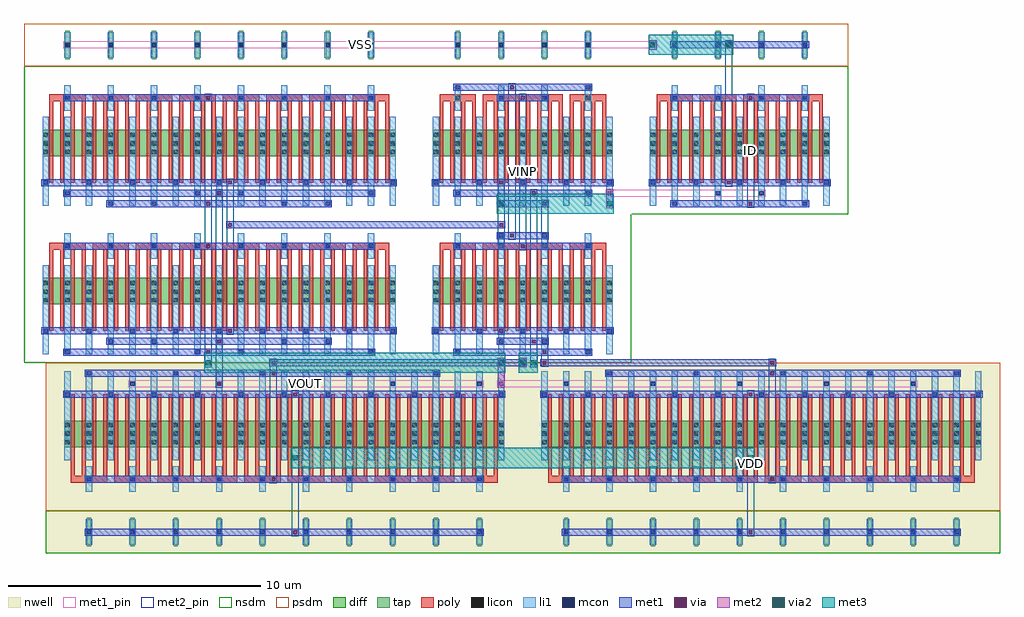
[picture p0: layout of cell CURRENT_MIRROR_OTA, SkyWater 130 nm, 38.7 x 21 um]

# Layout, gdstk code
import gdstk
lib = gdstk.Library(unit=1e-6, precision=1e-09)
def R(c, l, rs):  # rectangles x0, y0, x1, y1
    for r in rs: c.add(gdstk.rectangle(r[:2], r[2:], *l))
def A(c, l, x, y, w, h, nx, ny, dx, dy):  # array of equal rectangles
    R(c, l, [(x+i*dx, y+j*dy, x+i*dx+w, y+j*dy+h) for i in range(nx) for j in range(ny)])
nwell = (64, 20)
diff = (65, 20)
tap = (65, 44)
poly = (66, 20)
licon = (66, 44)
li1 = (67, 20)
mcon = (67, 44)
met1_pin = (68, 16)
met1 = (68, 20)
via = (68, 44)
met2_pin = (69, 16)
met2 = (69, 20)
via2 = (69, 44)
met3 = (70, 20)
nsdm = (93, 44)
psdm = (94, 20)

current_mirror_ota = lib.new_cell('CURRENT_MIRROR_OTA')
R(current_mirror_ota, nwell, [(0.86,0,19.78,7.56), (19.78,0,38.7,7.56)])
R(current_mirror_ota, diff, [(1.595,4.2,19.045,5.25), (20.515,4.2,37.965,5.25), (0.735,9.87,14.745,10.92), (16.215,9.87,23.345,10.92), (0.735,15.75,14.745,16.8), (16.215,15.75,23.345,16.8), (24.815,15.75,31.945,16.8)])
A(current_mirror_ota, tap, 2.495, 0.28, 0.17, 1.12, 10, 1, 1.72, 0)
A(current_mirror_ota, tap, 21.415, 0.28, 0.17, 1.12, 10, 1, 1.72, 0)
A(current_mirror_ota, tap, 1.635, 19.6, 0.17, 1.12, 8, 1, 1.72, 0)
A(current_mirror_ota, tap, 17.115, 19.6, 0.17, 1.12, 4, 1, 1.72, 0)
A(current_mirror_ota, tap, 25.715, 19.6, 0.17, 1.12, 4, 1, 1.72, 0)
A(current_mirror_ota, poly, 1.86, 2.805, 1.44, 0.27, 10, 1, 1.72, 0)
A(current_mirror_ota, poly, 20.78, 2.805, 1.44, 0.27, 10, 1, 1.72, 0)
A(current_mirror_ota, poly, 1.86, 2.94, 0.15, 3.36, 40, 1, 0.43, 0)
A(current_mirror_ota, poly, 20.78, 2.94, 0.15, 3.36, 40, 1, 0.43, 0)
A(current_mirror_ota, poly, 1, 8.82, 0.15, 3.36, 32, 2, 0.43, 5.88)
A(current_mirror_ota, poly, 16.48, 8.82, 0.15, 3.36, 16, 2, 0.43, 5.88)
A(current_mirror_ota, poly, 1, 12.045, 1.44, 0.27, 8, 2, 1.72, 5.88)
A(current_mirror_ota, poly, 16.48, 12.045, 1.44, 0.27, 4, 2, 1.72, 5.88)
A(current_mirror_ota, poly, 25.08, 14.7, 0.15, 3.36, 16, 1, 0.43, 0)
A(current_mirror_ota, poly, 25.08, 17.925, 1.44, 0.27, 4, 1, 1.72, 0)
A(current_mirror_ota, licon, 2.495, 0.755, 0.17, 0.17, 10, 2, 1.72, 2.1)
A(current_mirror_ota, licon, 21.415, 0.755, 0.17, 0.17, 10, 2, 1.72, 2.1)
A(current_mirror_ota, licon, 1.635, 4.32, 0.17, 0.17, 3, 3, 0.86, 0.34)
A(current_mirror_ota, licon, 3.355, 4.32, 0.17, 0.17, 3, 3, 0.86, 0.34)
A(current_mirror_ota, licon, 5.075, 4.32, 0.17, 0.17, 3, 3, 0.86, 0.34)
A(current_mirror_ota, licon, 6.795, 4.32, 0.17, 0.17, 3, 3, 0.86, 0.34)
A(current_mirror_ota, licon, 8.515, 4.32, 0.17, 0.17, 3, 3, 0.86, 0.34)
A(current_mirror_ota, licon, 10.235, 4.32, 0.17, 0.17, 3, 3, 0.86, 0.34)
A(current_mirror_ota, licon, 11.955, 4.32, 0.17, 0.17, 3, 3, 0.86, 0.34)
A(current_mirror_ota, licon, 13.675, 4.32, 0.17, 0.17, 3, 3, 0.86, 0.34)
A(current_mirror_ota, licon, 15.395, 4.32, 0.17, 0.17, 3, 3, 0.86, 0.34)
A(current_mirror_ota, licon, 17.115, 4.32, 0.17, 0.17, 3, 3, 0.86, 0.34)
A(current_mirror_ota, licon, 20.555, 4.32, 0.17, 0.17, 3, 3, 0.86, 0.34)
A(current_mirror_ota, licon, 22.275, 4.32, 0.17, 0.17, 3, 3, 0.86, 0.34)
A(current_mirror_ota, licon, 23.995, 4.32, 0.17, 0.17, 3, 3, 0.86, 0.34)
A(current_mirror_ota, licon, 25.715, 4.32, 0.17, 0.17, 3, 3, 0.86, 0.34)
A(current_mirror_ota, licon, 27.435, 4.32, 0.17, 0.17, 3, 3, 0.86, 0.34)
A(current_mirror_ota, licon, 29.155, 4.32, 0.17, 0.17, 3, 3, 0.86, 0.34)
A(current_mirror_ota, licon, 30.875, 4.32, 0.17, 0.17, 3, 3, 0.86, 0.34)
A(current_mirror_ota, licon, 32.595, 4.32, 0.17, 0.17, 3, 3, 0.86, 0.34)
A(current_mirror_ota, licon, 34.315, 4.32, 0.17, 0.17, 3, 3, 0.86, 0.34)
A(current_mirror_ota, licon, 36.035, 4.32, 0.17, 0.17, 3, 3, 0.86, 0.34)
A(current_mirror_ota, licon, 0.775, 9.95, 0.17, 0.17, 3, 3, 0.86, 0.34)
A(current_mirror_ota, licon, 2.495, 9.95, 0.17, 0.17, 3, 3, 0.86, 0.34)
A(current_mirror_ota, licon, 4.215, 9.95, 0.17, 0.17, 3, 3, 0.86, 0.34)
A(current_mirror_ota, licon, 5.935, 9.95, 0.17, 0.17, 3, 3, 0.86, 0.34)
A(current_mirror_ota, licon, 7.655, 9.95, 0.17, 0.17, 3, 3, 0.86, 0.34)
A(current_mirror_ota, licon, 9.375, 9.95, 0.17, 0.17, 3, 3, 0.86, 0.34)
A(current_mirror_ota, licon, 11.095, 9.95, 0.17, 0.17, 3, 3, 0.86, 0.34)
A(current_mirror_ota, licon, 12.815, 9.95, 0.17, 0.17, 3, 3, 0.86, 0.34)
A(current_mirror_ota, licon, 16.255, 9.95, 0.17, 0.17, 3, 3, 0.86, 0.34)
A(current_mirror_ota, licon, 17.975, 9.95, 0.17, 0.17, 3, 3, 0.86, 0.34)
A(current_mirror_ota, licon, 19.695, 9.95, 0.17, 0.17, 3, 3, 0.86, 0.34)
A(current_mirror_ota, licon, 21.415, 9.95, 0.17, 0.17, 3, 3, 0.86, 0.34)
A(current_mirror_ota, licon, 1.635, 12.095, 0.17, 0.17, 8, 2, 1.72, 5.88)
A(current_mirror_ota, licon, 17.115, 12.095, 0.17, 0.17, 4, 2, 1.72, 5.88)
A(current_mirror_ota, licon, 0.775, 15.83, 0.17, 0.17, 3, 3, 0.86, 0.34)
A(current_mirror_ota, licon, 2.495, 15.83, 0.17, 0.17, 3, 3, 0.86, 0.34)
A(current_mirror_ota, licon, 4.215, 15.83, 0.17, 0.17, 3, 3, 0.86, 0.34)
A(current_mirror_ota, licon, 5.935, 15.83, 0.17, 0.17, 3, 3, 0.86, 0.34)
A(current_mirror_ota, licon, 7.655, 15.83, 0.17, 0.17, 3, 3, 0.86, 0.34)
A(current_mirror_ota, licon, 9.375, 15.83, 0.17, 0.17, 3, 3, 0.86, 0.34)
A(current_mirror_ota, licon, 11.095, 15.83, 0.17, 0.17, 3, 3, 0.86, 0.34)
A(current_mirror_ota, licon, 12.815, 15.83, 0.17, 0.17, 3, 3, 0.86, 0.34)
A(current_mirror_ota, licon, 16.255, 15.83, 0.17, 0.17, 3, 3, 0.86, 0.34)
A(current_mirror_ota, licon, 17.975, 15.83, 0.17, 0.17, 3, 3, 0.86, 0.34)
A(current_mirror_ota, licon, 19.695, 15.83, 0.17, 0.17, 3, 3, 0.86, 0.34)
A(current_mirror_ota, licon, 21.415, 15.83, 0.17, 0.17, 3, 3, 0.86, 0.34)
A(current_mirror_ota, licon, 24.855, 15.83, 0.17, 0.17, 3, 3, 0.86, 0.34)
A(current_mirror_ota, licon, 26.575, 15.83, 0.17, 0.17, 3, 3, 0.86, 0.34)
A(current_mirror_ota, licon, 28.295, 15.83, 0.17, 0.17, 3, 3, 0.86, 0.34)
A(current_mirror_ota, licon, 30.015, 15.83, 0.17, 0.17, 3, 3, 0.86, 0.34)
A(current_mirror_ota, licon, 25.715, 17.975, 0.17, 0.17, 4, 2, 1.72, 2.1)
R(current_mirror_ota, licon, [(1.635,20.075,1.805,20.245), (1.635,20.075,1.805,20.245), (3.355,20.075,3.525,20.245), (3.355,20.075,3.525,20.245), (5.075,20.075,5.245,20.245), (5.075,20.075,5.245,20.245), (6.795,20.075,6.965,20.245), (6.795,20.075,6.965,20.245), (8.515,20.075,8.685,20.245), (8.515,20.075,8.685,20.245), (10.235,20.075,10.405,20.245), (10.235,20.075,10.405,20.245), (11.955,20.075,12.125,20.245), (11.955,20.075,12.125,20.245), (13.675,20.075,13.845,20.245), (13.675,20.075,13.845,20.245), (17.115,20.075,17.285,20.245), (17.115,20.075,17.285,20.245), (18.835,20.075,19.005,20.245), (18.835,20.075,19.005,20.245), (20.555,20.075,20.725,20.245), (20.555,20.075,20.725,20.245), (22.275,20.075,22.445,20.245), (22.275,20.075,22.445,20.245)])
A(current_mirror_ota, li1, 2.455, 0.335, 0.25, 1.01, 10, 2, 1.72, 2.1)
A(current_mirror_ota, li1, 21.375, 0.335, 0.25, 1.01, 10, 2, 1.72, 2.1)
A(current_mirror_ota, li1, 1.595, 3.695, 0.25, 3.53, 21, 1, 0.86, 0)
A(current_mirror_ota, li1, 20.515, 3.695, 0.25, 3.53, 21, 1, 0.86, 0)
A(current_mirror_ota, li1, 0.735, 7.895, 0.25, 3.53, 17, 2, 0.86, 5.88)
A(current_mirror_ota, li1, 16.215, 7.895, 0.25, 3.53, 9, 2, 0.86, 5.88)
A(current_mirror_ota, li1, 1.595, 11.675, 0.25, 1.01, 8, 2, 1.72, 5.88)
A(current_mirror_ota, li1, 17.075, 11.675, 0.25, 1.01, 4, 2, 1.72, 5.88)
A(current_mirror_ota, li1, 24.815, 13.775, 0.25, 3.53, 9, 1, 0.86, 0)
A(current_mirror_ota, li1, 25.675, 17.555, 0.25, 1.01, 4, 2, 1.72, 2.1)
A(current_mirror_ota, li1, 1.595, 19.655, 0.25, 1.01, 8, 1, 1.72, 0)
A(current_mirror_ota, li1, 17.075, 19.655, 0.25, 1.01, 4, 1, 1.72, 0)
A(current_mirror_ota, mcon, 2.495, 0.755, 0.17, 0.17, 10, 2, 1.72, 2.1)
A(current_mirror_ota, mcon, 21.415, 0.755, 0.17, 0.17, 10, 2, 1.72, 2.1)
A(current_mirror_ota, mcon, 1.635, 6.215, 0.17, 0.17, 22, 1, 1.72, 0)
A(current_mirror_ota, mcon, 4.215, 6.635, 0.17, 0.17, 10, 1, 3.44, 0)
A(current_mirror_ota, mcon, 2.495, 7.055, 0.17, 0.17, 5, 1, 3.44, 0)
A(current_mirror_ota, mcon, 23.135, 7.055, 0.17, 0.17, 5, 1, 3.44, 0)
A(current_mirror_ota, mcon, 0.775, 8.735, 0.17, 0.17, 14, 1, 1.72, 0)
A(current_mirror_ota, mcon, 1.635, 12.095, 0.17, 0.17, 8, 2, 1.72, 5.88)
A(current_mirror_ota, mcon, 20.555, 13.775, 0.17, 0.17, 3, 1, 5.16, 0)
A(current_mirror_ota, mcon, 17.115, 14.195, 0.17, 0.17, 3, 1, 5.16, 0)
A(current_mirror_ota, mcon, 0.775, 14.615, 0.17, 0.17, 19, 1, 1.72, 0)
A(current_mirror_ota, mcon, 25.715, 17.975, 0.17, 0.17, 4, 2, 1.72, 2.1)
A(current_mirror_ota, mcon, 1.635, 20.075, 0.17, 0.17, 8, 1, 1.72, 0)
A(current_mirror_ota, mcon, 17.115, 20.075, 0.17, 0.17, 4, 1, 1.72, 0)
R(current_mirror_ota, mcon, [(1.635,7.895,1.805,8.065), (6.795,7.895,6.965,8.065), (8.515,7.895,8.685,8.065), (13.675,7.895,13.845,8.065), (17.115,7.895,17.285,8.065), (22.275,7.895,22.445,8.065), (3.355,8.315,3.525,8.485), (5.075,8.315,5.245,8.485), (10.235,8.315,10.405,8.485), (11.955,8.315,12.125,8.485), (18.835,8.315,19.005,8.485), (20.555,8.315,20.725,8.485), (17.115,12.095,17.285,12.265), (22.275,12.095,22.445,12.265), (18.835,12.515,19.005,12.685), (20.555,12.515,20.725,12.685), (3.355,13.775,3.525,13.945), (5.075,13.775,5.245,13.945), (10.235,13.775,10.405,13.945), (11.955,13.775,12.125,13.945), (18.835,13.775,19.005,13.945), (1.635,14.195,1.805,14.365), (6.795,14.195,6.965,14.365), (8.515,14.195,8.685,14.365), (13.675,14.195,13.845,14.365), (29.155,14.195,29.325,14.365), (18.835,17.975,19.005,18.145), (20.555,17.975,20.725,18.145), (17.115,18.395,17.285,18.565), (22.275,18.395,22.445,18.565)])
R(current_mirror_ota, met1_pin, [(4.13,6.58,18.23,6.86), (18.76,6.58,35.43,6.86), (23.06,14.14,29.41,14.42), (1.55,20.02,25.1,20.3)])
R(current_mirror_ota, met1, [(2.41,0.7,18.23,0.98), (21.33,0.7,37.15,0.98), (2.41,2.8,18.23,3.08), (21.33,2.8,37.15,3.08), (1.55,6.16,19.09,6.44), (20.47,6.16,38.01,6.44), (2.41,7,16.51,7.28), (23.05,7,37.15,7.28), (9.73,7.42,19.94,7.7), (20.48,7.42,29.83,7.7), (1.55,7.84,13.93,8.12), (17.03,7.84,22.53,8.12), (3.27,8.26,12.21,8.54), (18.75,8.26,20.81,8.54), (0.69,8.68,14.79,8.96), (16.17,8.68,23.39,8.96), (1.55,12.04,13.93,12.32), (17.03,12.04,22.53,12.32), (18.75,12.46,20.81,12.74), (8.01,12.88,19.08,13.16), (3.27,13.72,12.21,14), (18.75,13.72,20.81,14), (25.63,13.72,31.13,14), (1.55,14.14,13.93,14.42), (17.03,14.14,22.53,14.42), (0.69,14.56,14.79,14.84), (16.17,14.56,23.39,14.84), (24.77,14.56,31.99,14.84), (1.55,17.92,13.93,18.2), (18.75,17.92,20.81,18.2), (25.63,17.92,31.13,18.2), (17.03,18.34,22.53,18.62), (25.63,20.02,31.13,20.3)])
R(current_mirror_ota, via, [(10.675,0.765,10.825,0.915), (28.735,0.765,28.885,0.915), (9.815,2.865,9.965,3.015), (29.595,2.865,29.745,3.015), (10.675,6.225,10.825,6.375), (28.735,6.225,28.885,6.375), (7.665,6.645,7.815,6.795), (18.845,6.645,18.995,6.795), (9.815,7.065,9.965,7.215), (29.595,7.065,29.745,7.215), (9.815,7.485,9.965,7.635), (19.705,7.485,19.855,7.635), (20.565,7.485,20.715,7.635), (29.595,7.485,29.745,7.635), (7.235,7.905,7.385,8.055), (20.565,7.905,20.715,8.055), (7.665,8.325,7.815,8.475), (20.135,8.325,20.285,8.475), (8.095,8.745,8.245,8.895), (18.845,8.745,18.995,8.895), (7.235,12.105,7.385,12.255), (19.705,12.105,19.855,12.255), (19.275,12.525,19.425,12.675), (8.095,12.945,8.245,13.095), (18.845,12.945,18.995,13.095), (7.235,13.785,7.385,13.935), (20.565,13.785,20.715,13.935), (28.735,13.785,28.885,13.935), (7.665,14.205,7.815,14.355), (20.135,14.205,20.285,14.355), (23.145,14.205,23.295,14.355), (8.095,14.625,8.245,14.775), (18.845,14.625,18.995,14.775), (27.875,14.625,28.025,14.775), (7.235,17.985,7.385,18.135), (19.705,17.985,19.855,18.135), (28.735,17.985,28.885,18.135), (19.275,18.405,19.425,18.555), (24.865,20.085,25.015,20.235), (27.875,20.085,28.025,20.235)])
R(current_mirror_ota, met2_pin, [(10.61,0.68,10.89,6.46), (28.67,0.68,28.95,6.46), (9.75,2.78,10.03,7.72), (29.53,2.78,29.81,7.72), (7.6,6.56,7.88,14.44), (7.17,7.375,7.45,18.22), (20.07,7.375,20.35,14.44), (20.5,7.4,20.78,14.02), (8.03,8.66,8.31,14.86), (18.78,8.66,19.06,14.86), (19.64,12.02,19.92,18.22), (19.21,12.44,19.49,18.64), (28.67,13.7,28.95,18.22), (27.81,14.54,28.09,20.345)])
R(current_mirror_ota, met2, [(18.78,6.56,19.06,7.745), (19.64,7.375,19.92,7.745), (23.08,13.675,23.36,14.44), (24.8,19.975,25.08,20.345)])
R(current_mirror_ota, via2, [(10.65,3.68,10.85,3.88), (28.71,3.68,28.91,3.88), (7.21,7.46,7.41,7.66), (18.82,7.46,19.02,7.66), (19.68,7.46,19.88,7.66), (20.11,7.46,20.31,7.66), (18.82,13.76,19.02,13.96), (23.12,13.76,23.32,13.96), (24.84,20.06,25.04,20.26), (27.85,20.06,28.05,20.26)])
R(current_mirror_ota, met3, [(10.585,3.38,28.975,4.18), (7.145,7.16,19.085,7.96), (19.615,7.16,20.375,7.96), (18.755,13.46,23.385,14.26), (24.775,19.76,28.115,20.56)])
R(current_mirror_ota, nsdm, [(0.86,0,19.78,1.68), (19.78,0,38.7,1.68), (0,7.56,15.48,19.32), (15.48,7.56,24.08,19.32), (24.08,13.44,32.68,19.32)])
R(current_mirror_ota, psdm, [(0.86,1.68,19.78,7.56), (19.78,1.68,38.7,7.56), (0,19.32,15.48,21), (15.48,19.32,24.08,21), (24.08,19.32,32.68,21)])
current_mirror_ota.add(gdstk.Label('VSS', (13.325,20.16), layer=68, texttype=5))
current_mirror_ota.add(gdstk.Label('VOUT', (11.18,6.72), layer=68, texttype=5))
current_mirror_ota.add(gdstk.Label('VDD', (28.81,3.57), layer=69, texttype=5))
current_mirror_ota.add(gdstk.Label('ID', (28.81,15.96), layer=69, texttype=5))
current_mirror_ota.add(gdstk.Label('VINP', (19.78,15.12), layer=69, texttype=5))
current_mirror_ota.add(gdstk.Label('VINN', (19.35,15.54), layer=69, texttype=5))

lib.write_gds('CURRENT_MIRROR_OTA.gds')
